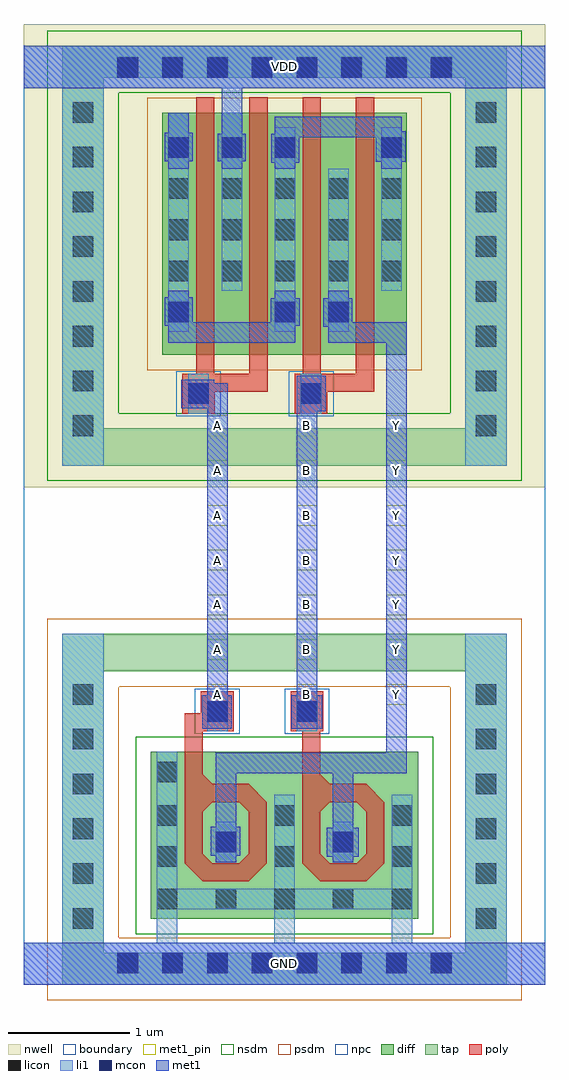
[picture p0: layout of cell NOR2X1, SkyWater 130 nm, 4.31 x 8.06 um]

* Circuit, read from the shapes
.subckt NOR2X1 A B GND VDD Y
XM1 GND A Y GND sky130_fd_pr__nfet_01v8 w=2.56 l=0.1478
XM2 GND B Y GND sky130_fd_pr__nfet_01v8 w=2.56 l=0.148
XM3 VDD A n1 VDD sky130_fd_pr__pfet_01v8 w=2 l=0.15 m=2
XM4 Y B n1 VDD sky130_fd_pr__pfet_01v8 w=2 l=0.15 m=2
.ends

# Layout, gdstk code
from math import pi, radians
import gdstk
lib = gdstk.Library(unit=1e-6, precision=1e-09)
def R(c, l, rs):  # rectangles x0, y0, x1, y1
    for r in rs: c.add(gdstk.rectangle(r[:2], r[2:], *l))
def A(c, l, x, y, w, h, nx, ny, dx, dy):  # array of equal rectangles
    R(c, l, [(x+i*dx, y+j*dy, x+i*dx+w, y+j*dy+h) for i in range(nx) for j in range(ny)])
def P(c, l, *ps):  # polygons
    for p in ps: c.add(gdstk.Polygon(p, *l))
nwell = (64, 20)
diff = (65, 20)
tap = (65, 44)
poly = (66, 20)
licon = (66, 44)
li1 = (67, 20)
mcon = (67, 44)
met1_pin = (68, 16)
met1 = (68, 20)
nsdm = (93, 44)
psdm = (94, 20)
npc = (95, 20)
boundary = (235, 4)

diff_ring_side = lib.new_cell('diff_ring_side')
R(diff_ring_side, nwell, [(-0.435,3.93,0.435,7.75)])
R(diff_ring_side, tap, [(-0.17,-0.17,0.17,2.72), (-0.17,4.11,0.17,7.57)])
A(diff_ring_side, licon, -0.085, 0.285, 0.17, 0.17, 1, 6, 0, 0.37)
A(diff_ring_side, licon, -0.085, 4.355, 0.17, 0.17, 1, 8, 0, 0.37)
R(diff_ring_side, li1, [(-0.17,-0.17,0.17,2.72), (-0.17,4.11,0.17,7.57)])
R(diff_ring_side, met1, [(-0.17,-0.17,0.17,0.17), (-0.17,7.23,0.17,7.57)])
R(diff_ring_side, nsdm, [(-0.295,3.985,0.295,7.695)])
R(diff_ring_side, psdm, [(-0.295,-0.295,0.295,2.845)])

nmos_top_trim1 = lib.new_cell('nmos_top_trim1')
R(nmos_top_trim1, diff, [(0,0,1.24,1.38)])
R(nmos_top_trim1, poly, [(0.43,0.31,0.81,0.46), (0.28,0.46,0.43,0.965), (0.81,0.46,0.96,0.965), (0.43,0.965,0.96,1.115), (0.81,1.115,0.96,1.545)])
P(nmos_top_trim1, poly, [(0.73,1.115),(0.81,1.115),(0.81,1.195)],
  [(0.28,0.965),(0.43,0.965),(0.43,1.115)],
  [(0.43,0.885),(0.43,0.965),(0.51,0.965)],
  [(0.73,0.965),(0.81,0.965),(0.81,0.885)],
  [(0.43,0.54),(0.43,0.46),(0.51,0.46)],
  [(0.73,0.46),(0.81,0.46),(0.81,0.54)],
  [(0.28,0.46),(0.43,0.46),(0.43,0.31)],
  [(0.81,0.31),(0.81,0.46),(0.96,0.46)])
A(nmos_top_trim1, licon, 0.05, 0.08, 0.17, 0.17, 3, 1, 0.485, 0)
R(nmos_top_trim1, licon, [(0.05,0.43,0.22,0.6), (1.02,0.43,1.19,0.6), (0.535,0.55,0.705,0.72), (0.05,0.77,0.22,0.94), (1.02,0.77,1.19,0.94), (1.02,1.13,1.19,1.3)])
R(nmos_top_trim1, li1, [(0.05,0,0.22,0.08), (1.02,0,1.19,0.08), (0.05,0.08,1.19,0.25), (0.05,0.25,0.22,1.02), (1.02,0.25,1.19,1.38), (0.535,0.47,0.705,0.805)])
R(nmos_top_trim1, nsdm, [(-0.125,-0.125,1.365,1.505)])

pmos2_1 = lib.new_cell('pmos2_1')
R(pmos2_1, nwell, [(0.26,-2.175,1.76,0.185)])
R(pmos2_1, diff, [(0.44,-1.995,1.58,0.005)])
R(pmos2_1, poly, [(0.72,-2.3,1.31,-2.15), (0.72,-2.15,0.87,0.135), (1.16,-2.15,1.31,0.135)])
A(pmos2_1, licon, 0.49, -1.385, 0.17, 0.17, 3, 3, 0.44, 0.34)
A(pmos2_1, li1, 0.49, -1.465, 0.17, 1.01, 3, 1, 0.44, 0)
R(pmos2_1, psdm, [(0.315,-2.12,1.705,0.13)])

poly_li1_contact = lib.new_cell('poly_li1_contact')
R(poly_li1_contact, poly, [(-0.16,-0.14,0.17,0.13)])
R(poly_li1_contact, licon, [(-0.08,-0.09,0.09,0.08)])
R(poly_li1_contact, li1, [(-0.16,-0.09,0.17,0.08)])
R(poly_li1_contact, npc, [(-0.18,-0.19,0.19,0.18)])

nmos_top_trim2 = lib.new_cell('nmos_top_trim2')
R(nmos_top_trim2, diff, [(0,0,1.24,1.38)])
R(nmos_top_trim2, poly, [(0.43,0.31,0.81,0.46), (0.28,0.46,0.43,0.89), (0.81,0.46,0.96,0.89), (0.28,0.89,0.435,0.965), (0.805,0.89,0.96,0.965), (0.43,0.965,0.96,1.115), (0.81,1.115,0.96,1.545)])
P(nmos_top_trim2, poly, [(0.73,1.115),(0.81,1.115),(0.81,1.195)],
  [(0.28,0.965),(0.43,0.965),(0.43,1.115)],
  [(0.435,0.89),(0.435,0.965),(0.51,0.965)],
  [(0.73,0.965),(0.805,0.965),(0.805,0.89)],
  [(0.43,0.54),(0.43,0.46),(0.51,0.46)],
  [(0.73,0.46),(0.81,0.46),(0.81,0.54)],
  [(0.28,0.46),(0.43,0.46),(0.43,0.31)],
  [(0.81,0.31),(0.81,0.46),(0.96,0.46)])
A(nmos_top_trim2, licon, 0.05, 0.08, 0.17, 0.17, 3, 1, 0.485, 0)
R(nmos_top_trim2, licon, [(0.05,0.43,0.22,0.6), (1.02,0.43,1.19,0.6), (0.535,0.55,0.705,0.72), (0.05,0.77,0.22,0.94), (1.02,0.77,1.19,0.94)])
R(nmos_top_trim2, li1, [(0.05,0,0.22,0.08), (1.02,0,1.19,0.08), (0.05,0.08,1.19,0.25), (0.05,0.25,0.22,1.025), (1.02,0.25,1.19,1.025), (0.535,0.47,0.705,0.805)])
R(nmos_top_trim2, nsdm, [(-0.125,-0.125,1.365,1.505)])

nor2x1_pcell = lib.new_cell('nor2x1_pcell')
R(nor2x1_pcell, nwell, [(0.435,3.93,2.895,7.75)])
A(nor2x1_pcell, diff, 0.705, 6.655, 0.17, 0.17, 3, 1, 0.44, 0)
R(nor2x1_pcell, diff, [(0.705,5.215,0.875,5.465), (1.585,5.215,1.755,5.25), (2.025,5.215,2.195,5.25), (1.585,5.295,1.755,5.465), (2.025,5.295,2.195,5.465), (2.465,6.655,2.635,6.825)])
R(nor2x1_pcell, tap, [(0.17,-0.17,3.16,0.085), (0.17,2.41,3.16,2.72), (0.17,4.11,3.16,4.42), (0.17,7.315,3.16,7.57)])
R(nor2x1_pcell, poly, [(0.84,1.875,0.99,2.065), (1.81,1.91,1.96,1.915)])
A(nor2x1_pcell, licon, 0.285, -0.085, 0.17, 0.17, 8, 2, 0.37, 7.4)
A(nor2x1_pcell, licon, 0.705, 6.655, 0.17, 0.17, 3, 1, 0.44, 0)
R(nor2x1_pcell, licon, [(0.705,5.295,0.875,5.465), (1.585,5.295,1.755,5.465), (2.025,5.295,2.195,5.465), (2.465,6.655,2.635,6.825)])
R(nor2x1_pcell, li1, [(0.165,-0.17,3.285,0.17), (0.61,0.17,0.78,0.785), (1.58,0.17,1.75,0.445), (2.55,0.17,2.72,0.445), (1.095,0.915,1.265,1.085), (2.065,0.915,2.235,1.085), (1.025,1.995,1.195,2.165), (1.765,1.995,1.935,2.165), (0.87,4.62,1.04,4.79), (1.8,4.62,1.97,4.79), (0.705,5.215,0.875,5.975), (1.585,5.215,1.755,5.975), (2.025,5.215,2.195,5.975), (1.145,6.145,1.315,7.025), (1.585,6.145,1.755,6.905), (2.465,6.145,2.635,6.905), (0.705,6.56,0.875,7.025), (-0.17,7.23,3.335,7.57)])
A(nor2x1_pcell, mcon, 0.285, -0.085, 0.17, 0.17, 8, 2, 0.37, 7.4)
A(nor2x1_pcell, mcon, 0.705, 6.655, 0.17, 0.17, 3, 1, 0.44, 0)
R(nor2x1_pcell, mcon, [(1.095,0.915,1.265,1.085), (2.065,0.915,2.235,1.085), (1.025,1.995,1.195,2.165), (1.765,1.995,1.935,2.165), (0.87,4.62,1.04,4.79), (1.8,4.62,1.97,4.79), (0.705,5.295,0.875,5.465), (1.585,5.295,1.755,5.465), (2.025,5.295,2.195,5.465), (2.465,6.655,2.635,6.825)])
R(nor2x1_pcell, met1, [(0.17,-0.17,3.16,0.17), (1.095,0.835,1.265,0.885), (2.065,0.835,2.235,0.88), (2.015,0.88,2.28,1.12), (1.055,0.885,1.3,1.125), (2.065,1.12,2.235,1.57), (1.095,1.125,1.265,1.57), (1.095,1.57,2.675,1.74), (2.505,1.74,2.675,5.125), (0.985,1.935,1.23,2.215), (1.72,1.935,1.975,2.215), (1.025,2.215,1.195,4.585), (1.765,2.215,1.935,4.56), (1.765,4.56,2.005,4.855), (0.81,4.585,1.195,4.79), (0.81,4.79,1.085,4.82), (0.705,5.125,1.755,5.265), (2.025,5.125,2.675,5.26), (1.985,5.26,2.675,5.295), (0.675,5.265,1.79,5.295), (0.675,5.295,0.905,5.5), (1.55,5.295,1.79,5.495), (1.985,5.295,2.225,5.495), (1.585,5.495,1.755,5.555), (2.025,5.495,2.195,5.555), (0.705,5.5,0.875,5.555), (0.705,6.565,0.875,6.625), (1.145,6.565,1.315,6.625), (1.585,6.565,1.755,6.615), (2.465,6.565,2.635,6.62), (1.555,6.615,1.785,6.825), (2.42,6.62,2.665,6.825), (0.675,6.625,0.905,6.86), (1.115,6.625,1.345,6.855), (1.555,6.825,2.665,6.855), (1.145,6.855,1.315,7.23), (1.585,6.855,2.665,6.875), (0.705,6.86,0.875,7.025), (1.585,6.875,2.635,6.995), (0.17,7.23,3.16,7.57)])
R(nor2x1_pcell, nsdm, [(0.045,3.985,3.285,4.545), (0.045,7.19,3.285,7.695)])
R(nor2x1_pcell, psdm, [(0.045,-0.295,3.285,0.21), (0.045,2.285,3.285,2.845), (0.58,5.09,1,5.59), (1.46,5.09,2.32,5.59), (0.58,6.53,1.88,6.95), (2.34,6.53,2.76,6.95)])
nor2x1_pcell.add(gdstk.Reference(diff_ring_side, (0,0)))
nor2x1_pcell.add(gdstk.Reference(nmos_top_trim1, (1.8,0.365), rotation=pi, x_reflection=True))
nor2x1_pcell.add(gdstk.Reference(pmos2_1, (0.215,7.02)))
nor2x1_pcell.add(gdstk.Reference(poly_li1_contact, (0.96,4.71), rotation=3*pi/2))
nor2x1_pcell.add(gdstk.Reference(poly_li1_contact, (1.115,2.085), rotation=3*pi/2))
nor2x1_pcell.add(gdstk.Reference(nmos_top_trim2, (2.77,0.365), rotation=pi, x_reflection=True))
nor2x1_pcell.add(gdstk.Reference(pmos2_1, (1.095,7.02)))
nor2x1_pcell.add(gdstk.Reference(poly_li1_contact, (1.845,2.075), rotation=pi/2))
nor2x1_pcell.add(gdstk.Reference(poly_li1_contact, (1.89,4.71), rotation=3*pi/2))
nor2x1_pcell.add(gdstk.Reference(diff_ring_side, (3.33,0)))

nor2x1 = lib.new_cell('NOR2X1')
R(nor2x1, nwell, [(0,4.11,0.06,7.345), (4.25,4.11,4.31,7.41), (0,7.345,0.21,7.37), (0,7.37,0.285,7.835), (4.13,7.41,4.31,7.77), (0.775,7.495,0.945,7.665), (0.32,7.745,3.99,7.76), (4.25,7.77,4.31,7.93), (0,7.835,0.21,7.86), (0,7.86,0.06,7.93), (0,7.93,4.31,7.94)])
R(nor2x1, tap, [(0.32,0,3.99,0.025), (0.32,7.745,3.99,7.76)])
R(nor2x1, li1, [(0,0,4.31,0.35), (0,7.41,4.31,7.76)])
A(nor2x1, met1_pin, 1.515, 2.315, 0.17, 0.17, 3, 7, 0.74, 0.37)
R(nor2x1, met1_pin, [(0,0,4.31,0.35), (0,7.41,4.31,7.76)])
A(nor2x1, met1, 1.515, 2.315, 0.17, 0.17, 3, 7, 0.74, 0.37)
R(nor2x1, met1, [(0,0,4.31,0.35), (0,7.41,4.31,7.76)])
R(nor2x1, nsdm, [(0.195,7.62,4.115,7.885)])
R(nor2x1, psdm, [(0.195,-0.125,4.115,0.15)])
R(nor2x1, boundary, [(0,0,4.31,7.76)])
nor2x1.add(gdstk.Reference(nor2x1_pcell, (0.49,0.18)))
nor2x1.add(gdstk.Label('Y', (3.08,4.62), layer=68, texttype=5))
nor2x1.add(gdstk.Label('Y', (3.08,4.25), layer=68, texttype=5))
nor2x1.add(gdstk.Label('Y', (3.08,3.88), layer=68, texttype=5))
nor2x1.add(gdstk.Label('Y', (3.08,3.51), layer=68, texttype=5))
nor2x1.add(gdstk.Label('Y', (3.08,3.14), layer=68, texttype=5))
nor2x1.add(gdstk.Label('Y', (3.08,2.77), layer=68, texttype=5))
nor2x1.add(gdstk.Label('Y', (3.08,2.4), layer=68, texttype=5))
nor2x1.add(gdstk.Label('A', (1.6,4.62), layer=68, texttype=5))
nor2x1.add(gdstk.Label('A', (1.6,4.25), layer=68, texttype=5))
nor2x1.add(gdstk.Label('A', (1.6,3.88), layer=68, texttype=5))
nor2x1.add(gdstk.Label('A', (1.6,3.51), layer=68, texttype=5))
nor2x1.add(gdstk.Label('A', (1.6,3.14), layer=68, texttype=5))
nor2x1.add(gdstk.Label('A', (1.6,2.77), layer=68, texttype=5))
nor2x1.add(gdstk.Label('A', (1.6,2.4), layer=68, texttype=5))
nor2x1.add(gdstk.Label('B', (2.34,4.62), layer=68, texttype=5))
nor2x1.add(gdstk.Label('B', (2.34,4.25), layer=68, texttype=5))
nor2x1.add(gdstk.Label('B', (2.34,3.88), layer=68, texttype=5))
nor2x1.add(gdstk.Label('B', (2.34,3.51), layer=68, texttype=5))
nor2x1.add(gdstk.Label('B', (2.34,3.14), layer=68, texttype=5))
nor2x1.add(gdstk.Label('B', (2.34,2.77), layer=68, texttype=5))
nor2x1.add(gdstk.Label('B', (2.34,2.4), layer=68, texttype=5))
nor2x1.add(gdstk.Label('VDD', (2.155,7.585), layer=68, texttype=5))
nor2x1.add(gdstk.Label('GND', (2.155,0.175), layer=68, texttype=5))

lib.write_gds('NOR2X1.gds')
